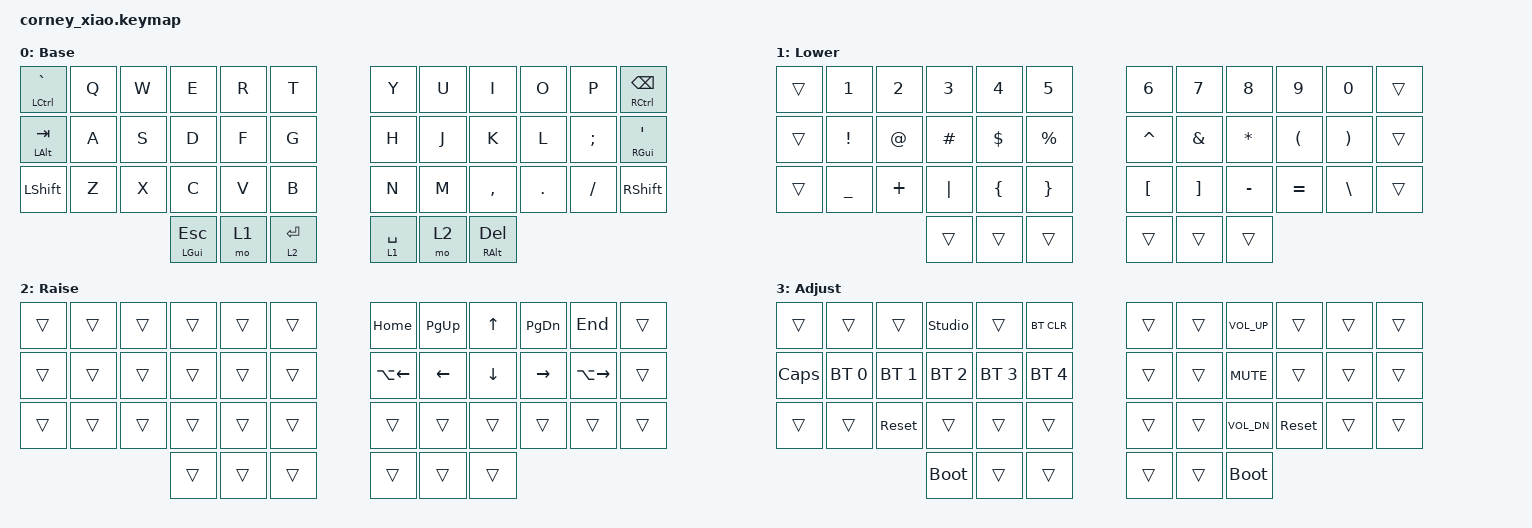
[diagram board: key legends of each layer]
/*
 * Copyright (c) 2020 The ZMK Contributors
 *
 * SPDX-License-Identifier: MIT
 */

#include <behaviors.dtsi>
#include <dt-bindings/zmk/bt.h>
#include <dt-bindings/zmk/keys.h>

/ {
    combos {
        compatible = "zmk,combos";

        combo_studio_unlock {
            timeout-ms = <50>;
            key-positions = <0 1>;
            bindings = <&studio_unlock>;
        };
    };
};

/ {
    conditional_layers {
        compatible = "zmk,conditional-layers";

        tri_layer {
            if-layers = <1 2>;
            then-layer = <3>;
        };
    };

    behaviors {
        ht_tp: hold_tap_tap_preferred {
            compatible = "zmk,behavior-hold-tap";
            #binding-cells = <2>;
            tapping-term-ms = <200>;
            quick-tap-ms = <0>;
            flavor = "tap-preferred";
            bindings = <&kp>, <&kp>;
        };
    };

    keymap {
        compatible = "zmk,keymap";

        default_layer {
            // -----------------------------------------------------------------------------------------
            // |   `  |  Q  |  W  |  E  |  R  |  T  |   |  Y  |  U   |  I  |  O  |  P  | BKSP |
            // |  TAB |  A  |  S  |  D  |  F  |  G  |   |  H  |  J   |  K  |  L  |  ;  |  '   |
            // | SHFT |  Z  |  X  |  C  |  V  |  B  |   |  N  |  M   |  ,  |  .  |  /  | SHFT  |
            //                    | GUI | RSE | ENT |   | SPC | LWR  | ALT |
            display-name = "Base";
            bindings = <
&ht_tp LCTRL GRAVE  &kp Q  &kp W  &kp E            &kp R  &kp T        &kp Y        &kp U  &kp I            &kp O    &kp P     &ht_tp RCTRL BSPC
&ht_tp LALT TAB     &kp A  &kp S  &kp D            &kp F  &kp G        &kp H        &kp J  &kp K            &kp L    &kp SEMI  &ht_tp RGUI SQT
&kp LSHIFT          &kp Z  &kp X  &kp C            &kp V  &kp B        &kp N        &kp M  &kp COMMA        &kp DOT  &kp FSLH  &kp RSHIFT
                                  &ht_tp LGUI ESC  &mo 1  &lt 2 RET    &lt 1 SPACE  &mo 2  &ht_tp RALT DEL
            >;
        };

        lower_layer {
            // -----------------------------------------------------------------------------------------
            // |    |  1  |  2  |  3  |  4  |  5  |   |  6  |  7  |  8  |  9  |  0  |      |
            // |    |  !  |  @  |  #  |  $  |  %  |   |  ^  |  &  |  *  |  (  |  )  |      |
            // |    |  _  |  +  |  |  |  {  |  }  |   |  [  |  ]  |  -  |  =  |  \  |      |
            //                  |     |     |     |   |     |     |     |
            display-name = "Lower";
            bindings = <
&trans  &kp N1     &kp N2    &kp N3    &kp N4      &kp N5         &kp N6     &kp N7    &kp N8     &kp N9     &kp N0    &trans
&trans  &kp EXCL   &kp AT    &kp HASH  &kp DOLLAR  &kp PERCENT    &kp CARET  &kp AMPS  &kp ASTRK  &kp LPAR   &kp RPAR  &trans
&trans  &kp UNDER  &kp PLUS  &kp PIPE  &kp LBRC    &kp RBRC       &kp LBKT   &kp RBKT  &kp MINUS  &kp EQUAL  &kp BSLH  &trans
                             &trans    &trans      &trans         &trans     &trans    &trans
            >;
        };

        raise_layer {
            // -----------------------------------------------------------------------------------------
            // |      |     |     |     |     |     |   | HOM | PUP |  UP | PDN | END |      |
            // |      |     |     |     |     |     |   | LWR | LEF | DOW | RIG | RWR |      |
            // |      |     |     |     |     |     |   |     |     |     |     |     |      |
            //                    |     |     |     |   |     |     |     |
            display-name = "Raise";
            bindings = <
&trans  &trans  &trans  &trans  &trans  &trans    &kp HOME      &kp PG_UP  &kp UP    &kp PG_DN  &kp END        &trans
&trans  &trans  &trans  &trans  &trans  &trans    &kp LA(LEFT)  &kp LEFT   &kp DOWN  &kp RIGHT  &kp LA(RIGHT)  &trans
&trans  &trans  &trans  &trans  &trans  &trans    &trans        &trans     &trans    &trans     &trans         &trans
                        &trans  &trans  &trans    &trans        &trans     &trans
            >;
        };

        adjust_layer {
            // -----------------------------------------------------------------------------------------
            // |      |     |     | STD |     | CLR |      |     |     | VUP |     |     |      |
            // | CAPS | BT0 | BT1 | BT2 | BT3 | BT4 |      |     |     | MUT |     |     |      |
            // |      |     | RST |     |     |     |      |     |     | VDN | RST |     |      |
            //                    | BOOT|     |     |      |     |     | BOOT|
            display-name = "Adjust";
            bindings = <
&trans        &trans        &trans        &studio_unlock  &trans        &bt BT_CLR      &trans  &trans  &kp C_VOL_UP  &trans      &trans  &trans
&kp CAPSLOCK  &bt BT_SEL 0  &bt BT_SEL 1  &bt BT_SEL 2    &bt BT_SEL 3  &bt BT_SEL 4    &trans  &trans  &kp C_MUTE    &trans      &trans  &trans
&trans        &trans        &sys_reset    &trans          &trans        &trans          &trans  &trans  &kp C_VOL_DN  &sys_reset  &trans  &trans
                                          &bootloader     &trans        &trans          &trans  &trans  &bootloader
            >;
        };

        extra_1 {
                status = "reserved";
        };

        extra_2 {
                status = "reserved";
        };

        extra_3 {
                status = "reserved";
        };

    };
};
